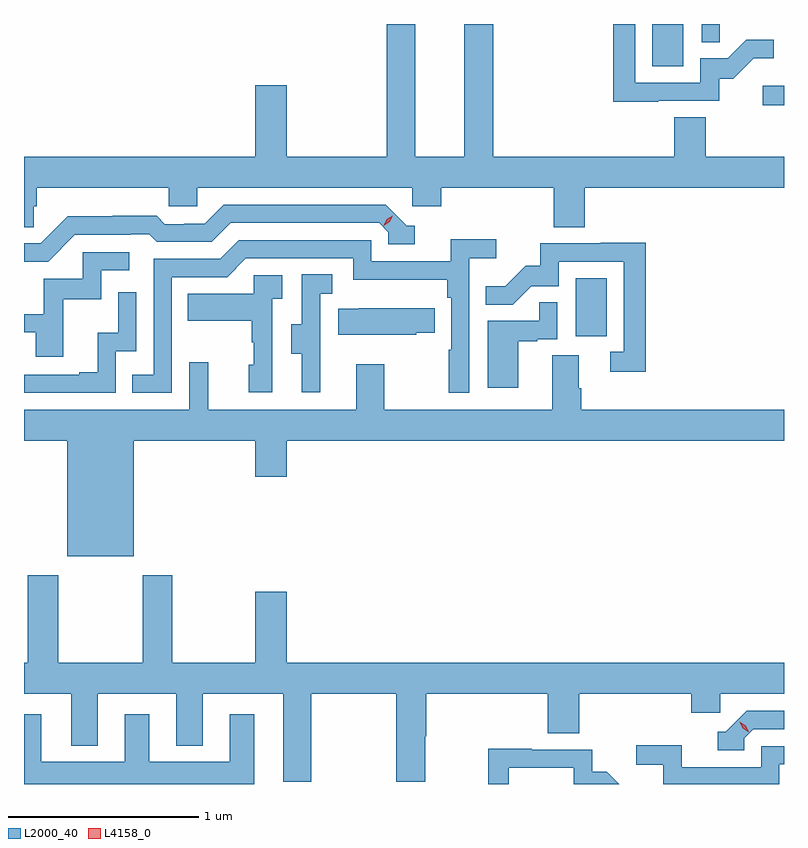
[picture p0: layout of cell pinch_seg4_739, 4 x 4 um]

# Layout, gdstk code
import gdstk
lib = gdstk.Library(unit=1e-6, precision=1e-09)
def R(c, l, rs):  # rectangles x0, y0, x1, y1
    for r in rs: c.add(gdstk.rectangle(r[:2], r[2:], *l))
def P(c, l, *ps):  # polygons
    for p in ps: c.add(gdstk.Polygon(p, *l))
L2000_40 = (2000, 40)
L4158_0 = (4158, 0)

pinch_seg4_739 = lib.new_cell('pinch_seg4_739')
R(pinch_seg4_739, L2000_40, [(885.974,825.342,886.138,825.649), (886.959,826.558,887.07,826.66), (886.376,826.764,886.54,826.986), (886.638,826.891,886.733,826.986)])
P(pinch_seg4_739, L2000_40, [(883.121,826.026),(883.136,826.026),(883.136,826.124),(883.833,826.124),(883.833,826.026),(883.983,826.026),(883.983,826.124),(885.114,826.124),(885.114,826.026),(885.266,826.026),(885.266,826.124),(885.857,826.124),(885.857,825.916),(886.022,825.916),(886.022,826.124),(887.07,826.124),(887.07,826.288),(886.658,826.288),(886.658,826.496),(886.493,826.496),(886.493,826.288),(885.539,826.288),(885.539,826.986),(885.386,826.986),(885.386,826.288),(885.13,826.288),(885.13,826.986),(884.978,826.986),(884.978,826.288),(884.452,826.288),(884.452,826.663),(884.288,826.663),(884.288,826.288),(883.07,826.288),(883.07,825.916),(883.121,825.916)],
  [(886.409,826.581),(886.728,826.581),(886.728,826.698),(886.804,826.698),(886.911,826.805),(887.015,826.805),(887.015,826.904),(886.871,826.904),(886.773,826.806),(886.629,826.806),(886.629,826.677),(886.287,826.677),(886.287,826.986),(886.171,826.986),(886.171,826.576),(886.409,826.576)],
  [(883.338,825.876),(883.631,825.876),(883.631,825.879),(883.73,825.879),(883.769,825.84),(884.058,825.84),(884.157,825.939),(884.94,825.939),(884.988,825.891),(884.988,825.828),(885.127,825.828),(885.127,825.924),(885.084,825.924),(884.973,826.035),(884.12,826.035),(884.021,825.936),(883.914,825.936),(883.914,825.933),(883.811,825.933),(883.769,825.976),(883.536,825.976),(883.536,825.973),(883.3,825.973),(883.158,825.831),(883.07,825.831),(883.07,825.735),(883.197,825.735)],
  [(883.848,825.654),(884.139,825.654),(884.238,825.753),(884.802,825.753),(884.802,825.641),(885.298,825.641),(885.298,825.545),(885.318,825.545),(885.318,825.272),(885.306,825.272),(885.306,825.045),(885.414,825.045),(885.414,825.752),(885.556,825.752),(885.556,825.854),(885.317,825.854),(885.317,825.738),(884.898,825.738),(884.898,825.849),(884.201,825.849),(884.102,825.75),(883.752,825.75),(883.752,825.141),(883.639,825.141),(883.639,825.045),(883.848,825.045)],
  [(886.343,825.836),(886.105,825.836),(886.105,825.831),(885.787,825.831),(885.787,825.714),(885.71,825.714),(885.603,825.607),(885.499,825.607),(885.499,825.508),(885.643,825.508),(885.741,825.606),(885.885,825.606),(885.885,825.735),(886.227,825.735),(886.227,825.261),(886.155,825.261),(886.155,825.156),(886.343,825.156)],
  [(883.277,825.537),(883.476,825.537),(883.476,825.69),(883.624,825.69),(883.624,825.786),(883.38,825.786),(883.38,825.645),(883.175,825.645),(883.175,825.459),(883.07,825.459),(883.07,825.363),(883.133,825.363),(883.133,825.234),(883.277,825.234)],
  [(884.63,825.261),(884.628,825.261),(884.628,825.565),(884.692,825.565),(884.692,825.668),(884.532,825.668),(884.532,825.405),(884.477,825.405),(884.477,825.25),(884.531,825.25),(884.531,825.048),(884.63,825.048)],
  [(884.376,825.539),(884.428,825.539),(884.428,825.663),(884.28,825.663),(884.28,825.565),(883.933,825.565),(883.933,825.425),(884.268,825.425),(884.268,825.311),(884.278,825.311),(884.278,825.192),(884.252,825.192),(884.252,825.048),(884.376,825.048)],
  [(883.554,825.264),(883.662,825.264),(883.662,825.574),(883.566,825.574),(883.566,825.362),(883.457,825.362),(883.457,825.154),(883.361,825.154),(883.361,825.141),(883.07,825.141),(883.07,825.045),(883.554,825.045)],
  [(885.67,825.315),(885.77,825.315),(885.77,825.327),(885.876,825.327),(885.876,825.521),(885.781,825.521),(885.781,825.423),(885.512,825.423),(885.512,825.072),(885.67,825.072)],
  [(885.135,825.361),(885.233,825.361),(885.233,825.49),(884.833,825.49),(884.833,825.487),(884.725,825.487),(884.725,825.35),(885.135,825.35)],
  [(883.648,824.792),(884.288,824.792),(884.288,824.604),(884.452,824.604),(884.452,824.792),(887.07,824.792),(887.07,824.956),(886.004,824.956),(886.004,825.068),(885.991,825.068),(885.991,825.242),(885.851,825.242),(885.851,824.956),(884.967,824.956),(884.967,825.196),(884.819,825.196),(884.819,824.956),(884.039,824.956),(884.039,825.205),(883.941,825.205),(883.941,824.956),(883.07,824.956),(883.07,824.792),(883.298,824.792),(883.298,824.186),(883.648,824.186)],
  [(884.583,823.46),(885.028,823.46),(885.028,822.999),(885.183,822.999),(885.183,823.238),(885.188,823.238),(885.188,823.46),(885.827,823.46),(885.827,823.252),(885.992,823.252),(885.992,823.46),(886.583,823.46),(886.583,823.362),(886.734,823.362),(886.734,823.46),(887.07,823.46),(887.07,823.624),(884.452,823.624),(884.452,823.999),(884.288,823.999),(884.288,823.624),(883.851,823.624),(883.851,824.086),(883.696,824.086),(883.696,823.624),(883.251,823.624),(883.251,824.086),(883.091,824.086),(883.091,823.624),(883.07,823.624),(883.07,823.46),(883.319,823.46),(883.319,823.187),(883.459,823.187),(883.459,823.46),(883.871,823.46),(883.871,823.187),(884.011,823.187),(884.011,823.46),(884.435,823.46),(884.435,822.999),(884.583,822.999)],
  [(886.86,823.227),(886.908,823.275),(887.07,823.275),(887.07,823.371),(886.875,823.371),(886.764,823.26),(886.721,823.26),(886.721,823.164),(886.86,823.164)],
  [(884.281,823.354),(884.153,823.354),(884.153,823.102),(883.729,823.102),(883.729,823.354),(883.601,823.354),(883.601,823.102),(883.162,823.102),(883.162,823.354),(883.07,823.354),(883.07,822.986),(884.281,822.986)],
  [(887.046,823.089),(887.07,823.089),(887.07,823.185),(886.95,823.185),(886.95,823.074),(886.532,823.074),(886.532,823.19),(886.293,823.19),(886.293,823.088),(886.434,823.088),(886.434,822.986),(887.046,822.986)],
  [(885.621,823.071),(885.963,823.071),(885.963,822.986),(886.202,822.986),(886.138,823.05),(886.062,823.05),(886.062,823.167),(885.743,823.167),(885.743,823.172),(885.513,823.172),(885.513,822.986),(885.621,822.986)])
P(pinch_seg4_739, L4158_0, [(886.883,823.26),(886.853,823.28),(886.837,823.313),(886.837,823.313),(886.837,823.313),(886.868,823.293),(886.884,823.261),(886.884,823.26)],
  [(884.964,825.925),(884.964,825.926),(884.98,825.958),(885.011,825.977),(885.011,825.977),(885.011,825.977),(884.995,825.944),(884.964,825.925)])

lib.write_gds('pinch_seg4_739.gds')
